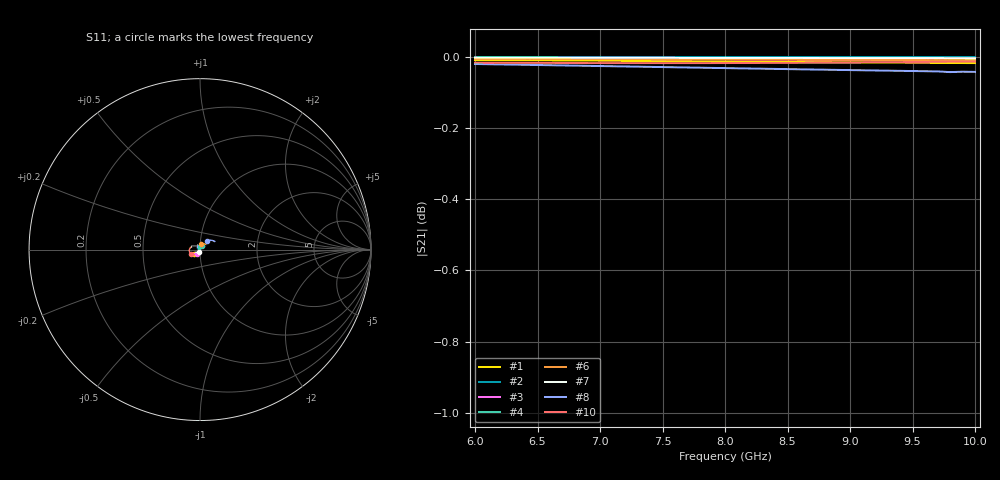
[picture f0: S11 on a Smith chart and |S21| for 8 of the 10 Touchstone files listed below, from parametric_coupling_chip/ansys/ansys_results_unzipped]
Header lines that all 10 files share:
! Touchstone file exported from HFSS 2024.2.0
!  Setup:  Setup1
!  Solution:  Sweep1
!Data is not renormalized
! Port[1] = p1
! Port[2] = p2
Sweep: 6 GHz to 10 GHz
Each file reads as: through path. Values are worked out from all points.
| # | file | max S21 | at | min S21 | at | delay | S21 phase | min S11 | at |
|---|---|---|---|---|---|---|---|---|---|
| 1 | testA_line_only.s2p | -0.01 dB | 6 GHz | 0.0 dB | 10 GHz | 16.6 ps | -48 deg at 8 GHz | -27.2 dB | 6 GHz |
| 2 | testA_line_only_50ohm.s2p | 0.00 dB | 10 GHz | 0.0 dB | 6 GHz | 16.6 ps | -48 deg at 8 GHz | -37.9 dB | 10 GHz |
| 3 | testA_yh150.s2p | 0.00 dB | 6 GHz | 0.0 dB | 10 GHz | 16.6 ps | -48 deg at 8 GHz | -30.3 dB | 6 GHz |
| 4 | testA_yh150_50ohm.s2p | 0.00 dB | 6 GHz | 0.0 dB | 10 GHz | 16.6 ps | -48 deg at 8 GHz | -33.1 dB | 6 GHz |
| 5 | testA_yh400.s2p | 0.00 dB | 6 GHz | 0.0 dB | 10 GHz | 16.7 ps | -48 deg at 8 GHz | -30.6 dB | 6 GHz |
| 6 | testA_yh400_50ohm.s2p | 0.00 dB | 6 GHz | 0.0 dB | 10 GHz | 16.6 ps | -48 deg at 8 GHz | -29.4 dB | 6 GHz |
| 7 | testA_yh1000.s2p | 0.00 dB | 6 GHz | 0.0 dB | 10 GHz | 16.6 ps | -48 deg at 8 GHz | -34.6 dB | 6 GHz |
| 8 | testA_yh1000_50ohm.s2p | -0.02 dB | 6 GHz | 0.0 dB | 9.8 GHz | 16.6 ps | -48 deg at 8 GHz | -23.4 dB | 6 GHz |
| 9 | testB_launchpads.s2p | 0.00 dB | 6 GHz | 0.0 dB | 10 GHz | 29.9 ps | -86 deg at 8 GHz | -29.7 dB | 6 GHz |
| 10 | testB_launchpads_50ohm.s2p | -0.01 dB | 10 GHz | 0.0 dB | 7.5 GHz | 29.9 ps | -86 deg at 8 GHz | -25.4 dB | 10 GHz |
